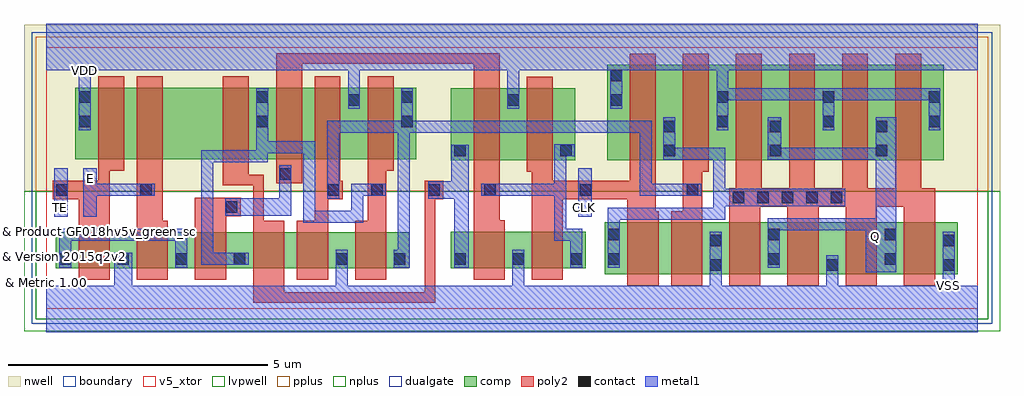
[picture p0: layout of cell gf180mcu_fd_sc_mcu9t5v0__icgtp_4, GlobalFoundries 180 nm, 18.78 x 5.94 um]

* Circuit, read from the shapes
.subckt gf180mcu_fd_sc_mcu9t5v0__icgtp_4 CLK E Q TE VDD VSS
XM1 VSS TE n1 VSUBS nfet_05v0 w=0.7u l=0.6u
XM2 n1 E VSS VSUBS nfet_05v0 w=0.7u l=0.6u
XM3 n2 n3 n1 VSUBS nfet_05v0 w=0.7u l=0.6u
XM4 n4 n5 n2 VSUBS nfet_05v0 w=0.7u l=0.6u
XM5 VSS n6 n4 VSUBS nfet_05v0 w=0.7u l=0.6u
XM6 n6 n2 VSS VSUBS nfet_05v0 w=0.7u l=0.6u
XM7 VSS n3 n5 VSUBS nfet_05v0 w=0.7u l=0.6u
XM8 n3 CLK VSS VSUBS nfet_05v0 w=0.7u l=0.6u
XM9 n7 CLK n8 VSUBS nfet_05v0 w=1u l=0.6u
XM10 VSS n6 n7 VSUBS nfet_05v0 w=1u l=0.6u
XM11 Q n8 VSS VSUBS nfet_05v0 w=1u l=0.6u m=4
XM12 n9 TE VDD n10 pfet_05v0 w=1.38u l=0.5u
XM13 n11 E n9 n10 pfet_05v0 w=1.38u l=0.5u
XM14 n2 n5 n11 n10 pfet_05v0 w=1.38u l=0.5u
XM15 n12 n3 n2 n10 pfet_05v0 w=1.38u l=0.5u
XM16 VDD n6 n12 n10 pfet_05v0 w=1.38u l=0.5u
XM17 n6 n2 VDD n10 pfet_05v0 w=1.38u l=0.5u
XM18 VDD n3 n5 n10 pfet_05v0 w=1.38u l=0.5u
XM19 n3 CLK VDD n10 pfet_05v0 w=1.38u l=0.5u
XM20 n8 CLK VDD n10 pfet_05v0 w=1.83u l=0.5u
XM21 VDD n6 n8 n10 pfet_05v0 w=1.83u l=0.5u
XM22 Q n8 VDD n10 pfet_05v0 w=1.83u l=0.5u m=4
.ends

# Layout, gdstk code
import gdstk
lib = gdstk.Library(unit=1e-6, precision=1e-09)
def R(c, l, rs):  # rectangles x0, y0, x1, y1
    for r in rs: c.add(gdstk.rectangle(r[:2], r[2:], *l))
def A(c, l, x, y, w, h, nx, ny, dx, dy):  # array of equal rectangles
    R(c, l, [(x+i*dx, y+j*dy, x+i*dx+w, y+j*dy+h) for i in range(nx) for j in range(ny)])
def P(c, l, *ps):  # polygons
    for p in ps: c.add(gdstk.Polygon(p, *l))
boundary = (0, 0)
nwell = (21, 0)
comp = (22, 0)
poly2 = (30, 0)
pplus = (31, 0)
nplus = (32, 0)
contact = (33, 0)
metal1 = (34, 0)
dualgate = (55, 0)
v5_xtor = (112, 1)
lvpwell = (204, 0)

gf180mcu_fd_sc_mcu9t5v0_ = lib.new_cell('gf180mcu_fd_sc_mcu9t5v0__icgtp_4')
R(gf180mcu_fd_sc_mcu9t5v0_, boundary, [(0,0,17.92,5.04)])
R(gf180mcu_fd_sc_mcu9t5v0_, nwell, [(-0.43,2.265,18.35,5.47)])
R(gf180mcu_fd_sc_mcu9t5v0_, comp, [(10.74,0.665,17.54,1.665), (0.18,0.78,6.98,1.48), (7.78,0.785,10.38,1.485), (7.78,2.865,10.18,4.245), (10.79,2.865,17.27,4.695), (0.56,2.88,7.12,4.26)])
P(gf180mcu_fd_sc_mcu9t5v0_, poly2, [(0.62,0.56),(0.62,2.11),(0.12,2.11),(0.12,2.47),(1,2.47),(1,4.48),(1.5,4.48),(1.5,2.66),(1.22,2.66),(1.22,0.56)],
  [(1.74,0.56),(1.74,4.48),(2.24,4.48),(2.24,1.7),(2.34,1.7),(2.34,0.56)],
  [(2.86,0.56),(2.86,2.14),(3.74,2.14),(3.74,1.78),(3.46,1.78),(3.46,0.56)],
  [(4.82,0.56),(4.82,1.7),(5.16,1.7),(5.16,4.48),(5.66,4.48),(5.66,2.465),(5.7,2.465),(5.7,2.11),(5.42,2.11),(5.42,0.56)],
  [(5.94,0.56),(5.94,1.7),(6.18,1.7),(6.18,4.48),(6.68,4.48),(6.68,2.66),(6.54,2.66),(6.54,0.56)],
  [(3.98,0.12),(3.98,2.38),(3.395,2.38),(3.395,2.66),(3.39,2.66),(3.39,4.48),(3.89,4.48),(3.89,2.58),(4.18,2.58),(4.18,1.7),(4.58,1.7),(4.58,0.32),(7.28,0.32),(7.28,2.47),(7.64,2.47),(7.64,2.11),(7.48,2.11),(7.48,0.12)],
  [(8.22,0.565),(8.22,4.72),(4.92,4.72),(4.92,2.42),(4.42,2.42),(4.42,4.92),(8.72,4.92),(8.72,1.705),(8.82,1.705),(8.82,0.565)],
  [(11.18,0.445),(11.18,2.11),(9.94,2.11),(9.94,0.565),(9.34,0.565),(9.34,2.645),(9.24,2.645),(9.24,4.465),(9.74,4.465),(9.74,2.47),(11.23,2.47),(11.23,4.915),(11.73,4.915),(11.73,1.885),(11.78,1.885),(11.78,0.445)],
  [(12.02,0.445),(12.02,1.885),(12.25,1.885),(12.25,4.915),(12.75,4.915),(12.75,2.645),(12.62,2.645),(12.62,0.445)],
  [(13.14,0.445),(13.14,2.325),(13.27,2.325),(13.27,4.915),(13.77,4.915),(13.77,2.325),(14.29,2.325),(14.29,4.915),(14.79,4.915),(14.79,2.325),(15.31,2.325),(15.31,4.915),(15.81,4.915),(15.81,2.325),(16.33,2.325),(16.33,4.915),(16.83,4.915),(16.83,2.325),(17.1,2.325),(17.1,0.445),(16.5,0.445),(16.5,1.965),(15.98,1.965),(15.98,0.445),(15.38,0.445),(15.38,1.965),(14.86,1.965),(14.86,0.445),(14.26,0.445),(14.26,1.965),(13.74,1.965),(13.74,0.445)])
R(gf180mcu_fd_sc_mcu9t5v0_, pplus, [(-0.2,2.265,18.12,5.24)])
R(gf180mcu_fd_sc_mcu9t5v0_, nplus, [(-0.2,-0.2,18.12,2.265)])
A(gf180mcu_fd_sc_mcu9t5v0_, contact, 12.77, 0.735, 0.22, 0.22, 3, 1, 2.24, 0)
A(gf180mcu_fd_sc_mcu9t5v0_, contact, 0.25, 0.855, 0.22, 0.22, 4, 1, 1.12, 0)
A(gf180mcu_fd_sc_mcu9t5v0_, contact, 7.85, 0.855, 0.22, 0.22, 3, 1, 1.12, 0)
A(gf180mcu_fd_sc_mcu9t5v0_, contact, 13.21, 2.035, 0.22, 0.22, 5, 1, 0.47, 0)
A(gf180mcu_fd_sc_mcu9t5v0_, contact, 11.88, 2.935, 0.22, 0.22, 3, 2, 2.04, 0.47)
A(gf180mcu_fd_sc_mcu9t5v0_, contact, 12.9, 3.5, 0.22, 0.22, 3, 2, 2.04, 0.47)
R(gf180mcu_fd_sc_mcu9t5v0_, contact, [(5.57,0.855,5.79,1.075), (6.69,0.855,6.91,1.075), (10.81,0.855,11.03,1.075), (13.89,0.855,14.11,1.075), (16.13,0.855,16.35,1.075), (12.77,1.205,12.99,1.425), (17.25,1.205,17.47,1.425), (10.81,1.325,11.03,1.545), (13.89,1.325,14.11,1.545), (16.13,1.325,16.35,1.545), (3.45,1.85,3.67,2.07), (0.19,2.18,0.41,2.4), (1.81,2.18,2.03,2.4), (5.41,2.18,5.63,2.4), (6.25,2.18,6.47,2.4), (7.35,2.18,7.57,2.4), (8.43,2.18,8.65,2.4), (10.265,2.18,10.485,2.4), (12.32,2.18,12.54,2.4), (4.49,2.49,4.71,2.71), (7.85,2.935,8.07,3.155), (9.89,2.94,10.11,3.16), (0.63,3.5,0.85,3.72), (4.04,3.5,4.26,3.72), (6.83,3.5,7.05,3.72), (5.81,3.915,6.03,4.135), (8.87,3.915,9.09,4.135), (10.86,3.915,11.08,4.135), (0.63,3.97,0.85,4.19), (4.04,3.97,4.26,4.19), (6.83,3.97,7.05,4.19), (10.86,4.385,11.08,4.605)])
R(gf180mcu_fd_sc_mcu9t5v0_, metal1, [(0.15,1.77,0.415,2.71), (10.23,1.77,10.49,2.71)])
P(gf180mcu_fd_sc_mcu9t5v0_, metal1, [(0.71,1.77),(0.71,2.71),(0.97,2.71),(0.97,2.405),(2.09,2.405),(2.09,2.175),(0.97,2.175),(0.97,1.77)],
  [(0.245,0.795),(0.245,1.54),(2.715,1.54),(2.715,0.795),(2.485,0.795),(2.485,1.31),(0.475,1.31),(0.475,0.795)],
  [(3.445,1.79),(3.445,2.13),(4.485,2.13),(4.485,2.77),(4.715,2.77),(4.715,1.79)],
  [(2.985,0.85),(2.985,3.05),(4.035,3.05),(4.035,4.25),(4.265,4.25),(4.265,3.23),(5.175,3.23),(5.175,1.89),(5.865,1.89),(5.865,2.405),(6.53,2.405),(6.53,2.175),(6.095,2.175),(6.095,1.66),(4.945,1.66),(4.945,3),(4.26,3),(4.26,2.82),(3.215,2.82),(3.215,1.08),(3.89,1.08),(3.89,0.85)],
  [(7.845,0.795),(7.845,2.12),(7.345,2.12),(7.345,2.46),(7.79,2.46),(7.79,3.16),(8.13,3.16),(8.13,0.795)],
  [(10.085,0.795),(10.085,1.31),(9.77,1.31),(9.77,2.175),(8.37,2.175),(8.37,2.405),(9.77,2.405),(9.77,3.165),(10.17,3.165),(10.17,2.935),(10,2.935),(10,1.54),(10.315,1.54),(10.315,0.795)],
  [(6.685,0.795),(6.685,1.135),(6.76,1.135),(6.76,3.395),(5.635,3.395),(5.635,2.12),(5.405,2.12),(5.405,3.625),(6.825,3.625),(6.825,4.25),(7.055,4.25),(7.055,3.625),(11.645,3.625),(11.645,2.405),(12.6,2.405),(12.6,2.175),(11.415,2.175),(11.415,3.395),(6.99,3.395),(6.99,0.795)],
  [(10.805,0.795),(10.805,1.945),(12.83,1.945),(12.83,2.875),(11.875,2.875),(11.875,3.685),(12.105,3.685),(12.105,3.105),(13.06,3.105),(13.06,2.315),(15.37,2.315),(15.37,1.975),(13.06,1.975),(13.06,1.715),(11.035,1.715),(11.035,0.795)],
  [(15.77,0.71),(15.77,1.515),(14.115,1.515),(14.115,0.795),(13.885,0.795),(13.885,1.745),(15.955,1.745),(15.955,2.875),(13.885,2.875),(13.885,3.685),(14.145,3.685),(14.145,3.105),(15.955,3.105),(15.955,3.685),(16.355,3.685),(16.355,0.71)],
  [(0,-0.45),(0,0.45),(1.31,0.45),(1.31,1.08),(1.65,1.08),(1.65,0.45),(5.565,0.45),(5.565,1.135),(5.795,1.135),(5.795,0.45),(8.965,0.45),(8.965,1.135),(9.195,1.135),(9.195,0.45),(12.765,0.45),(12.765,1.485),(12.995,1.485),(12.995,0.45),(15.005,0.45),(15.005,1.035),(15.235,1.035),(15.235,0.45),(17.245,0.45),(17.245,1.485),(17.475,1.485),(17.475,0.45),(17.92,0.45),(17.92,-0.45)],
  [(0.625,3.44),(0.625,4.59),(0,4.59),(0,5.49),(17.92,5.49),(17.92,4.59),(13.125,4.59),(13.125,4.25),(17.205,4.25),(17.205,3.44),(16.975,3.44),(16.975,4.02),(15.165,4.02),(15.165,3.44),(14.935,3.44),(14.935,4.02),(13.125,4.02),(13.125,3.44),(12.895,3.44),(12.895,4.59),(11.085,4.59),(11.085,3.855),(10.855,3.855),(10.855,4.59),(9.095,4.59),(9.095,3.855),(8.865,3.855),(8.865,4.59),(6.035,4.59),(6.035,3.855),(5.805,3.855),(5.805,4.59),(0.855,4.59),(0.855,3.44)])
R(gf180mcu_fd_sc_mcu9t5v0_, dualgate, [(-0.28,-0.28,18.2,5.32)])
R(gf180mcu_fd_sc_mcu9t5v0_, v5_xtor, [(0,0,17.92,5.04)])
R(gf180mcu_fd_sc_mcu9t5v0_, lvpwell, [(-0.43,-0.43,18.35,2.265)])
gf180mcu_fd_sc_mcu9t5v0_.add(gdstk.Label('CLK', (10.36,1.96), layer=34, texttype=10))
gf180mcu_fd_sc_mcu9t5v0_.add(gdstk.Label('E', (0.84,2.52), layer=34, texttype=10))
gf180mcu_fd_sc_mcu9t5v0_.add(gdstk.Label('Q', (15.96,1.4), layer=34, texttype=10))
gf180mcu_fd_sc_mcu9t5v0_.add(gdstk.Label('TE', (0.28,1.96), layer=34, texttype=10))
gf180mcu_fd_sc_mcu9t5v0_.add(gdstk.Label('VDD', (0.74,4.59), layer=34, texttype=10))
gf180mcu_fd_sc_mcu9t5v0_.add(gdstk.Label('VSS', (17.36,0.45), layer=34, texttype=10))
gf180mcu_fd_sc_mcu9t5v0_.add(gdstk.Label('& Vendor GLOBALFOUNDRIES', (0,2), layer=63, texttype=63))
gf180mcu_fd_sc_mcu9t5v0_.add(gdstk.Label('& Product GF018hv5v_green_sc9', (0,1.5), layer=63, texttype=63))
gf180mcu_fd_sc_mcu9t5v0_.add(gdstk.Label('& Version 2015q2v2', (0,1), layer=63, texttype=63))
gf180mcu_fd_sc_mcu9t5v0_.add(gdstk.Label('& Metric 1.00', (0,0.5), layer=63, texttype=63))

lib.write_gds('gf180mcu_fd_sc_mcu9t5v0__icgtp_4.gds')
